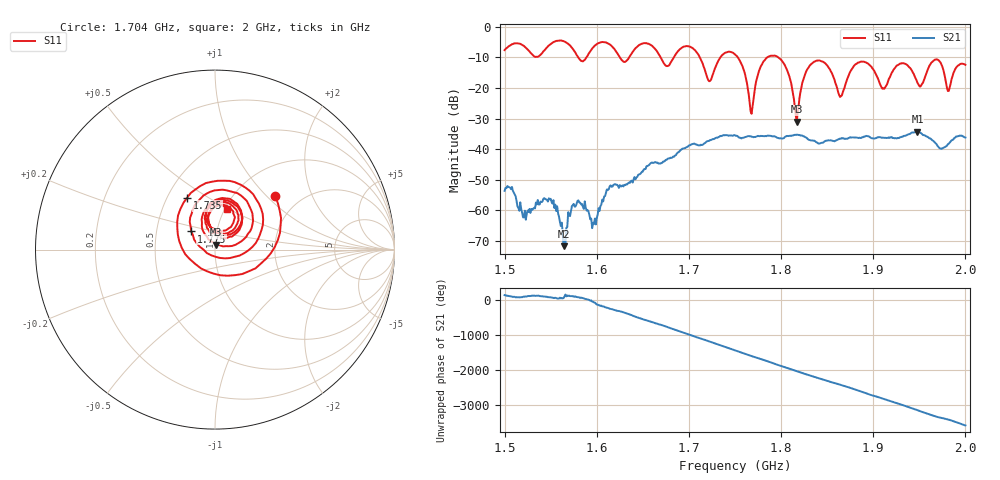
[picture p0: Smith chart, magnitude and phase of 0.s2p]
! NanoVNA-App by SYSJOINT et al v1.1.209 (+OD18)
! Date: 2026-01-21 14:46:55
! Start: 1,5GHz Stop: 2GHz Points: 501
! S-Parameter data: F S11 S21 S12 S22
# Hz S RI R 50
!  Frequency  S11_Real  S11_Imag  S21_Real  S21_Imag  S12_Real  S12_Imag  S22_Real  S22_Imag
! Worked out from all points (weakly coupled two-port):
!   501 points, 1.5 GHz to 2 GHz, reference 50 ohm
!   highest |S21| = -34.29 dB at 1.948 GHz (marker M1); lowest = -71.7 dB at 1.564 GHz (marker M2)
!   lowest |S11| = -31.1 dB at 1.817 GHz (marker M3), VSWR 1.06, Z = 50.6 + j2.76 ohm
!   |S11| at or under -10 dB: 1.712 GHz to 1.734 GHz (22.34 MHz wide, 1.3 % of centre); 1.753 GHz to 1.785 GHz (31.9 MHz wide, 1.8 % of centre); 1.797 GHz to end of sweep (the widest 3 of 6)
!   S12 and S22 are empty: the file has one direction only
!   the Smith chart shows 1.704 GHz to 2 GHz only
!   S11 on the Smith chart (normalised r, x): 1.704 GHz: 1.51, +1.12; 1.735 GHz: 0.63, +0.41; 1.775 GHz: 0.75, +0.16; 2 GHz: 1.02, +0.50
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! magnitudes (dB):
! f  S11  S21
! 1.5 GHz  -7.6  -53.6
! 1.522 GHz  -6.6  -60.1
! 1.551 GHz  -5.4  -57.3
! 1.564 GHz  -4.7  -71.7
! 1.584 GHz  -11.2  -58.0
! 1.597 GHz  -6.4  -64.5
! 1.613 GHz  -5.6  -53.1
! 1.667 GHz  -8.9  -44.7
! 1.704 GHz  -7.0  -38.3
! 1.722 GHz  -17.8  -37.3
! 1.735 GHz  -9.7  -35.7
! 1.75 GHz  -9.0  -35.5
! 1.768 GHz  -28.4  -35.9
! 1.775 GHz  -15.5  -35.7
! 1.8 GHz  -10.8  -36.5
! 1.817 GHz  -31.1  -35.3
! 1.834 GHz  -11.9  -37.1
! 1.864 GHz  -22.9  -36.6
! 1.885 GHz  -11.6  -36.3
! 1.917 GHz  -17.0  -36.1
! 1.948 GHz  -18.3  -34.3
! 2 GHz  -12.4  -36.2
